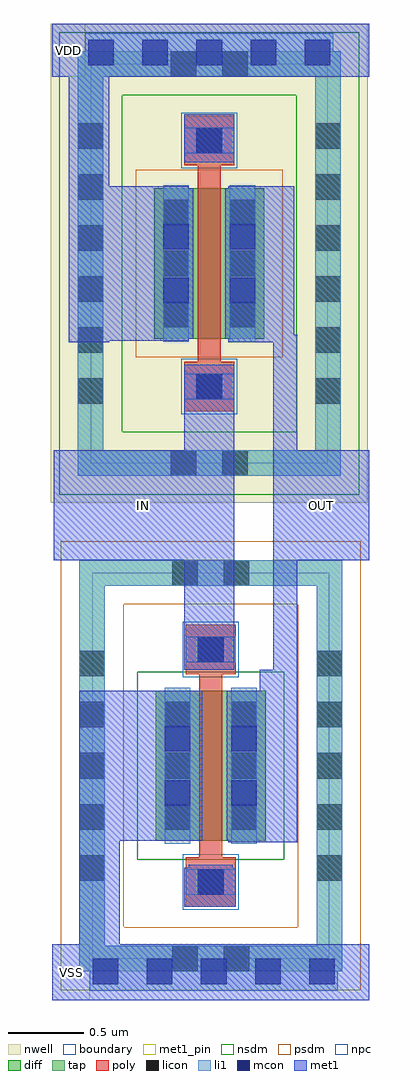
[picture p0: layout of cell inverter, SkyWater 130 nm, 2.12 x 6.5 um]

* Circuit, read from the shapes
.subckt inverter IN OUT VDD VSS
XM1 OUT IN VSS VSS sky130_fd_pr__nfet_01v8 w=1 l=0.15
XM2 OUT IN VDD VDD sky130_fd_pr__pfet_01v8 w=1 l=0.15
.ends

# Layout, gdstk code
import gdstk
lib = gdstk.Library(unit=1e-6, precision=1e-09)
def R(c, l, rs):  # rectangles x0, y0, x1, y1
    for r in rs: c.add(gdstk.rectangle(r[:2], r[2:], *l))
def A(c, l, x, y, w, h, nx, ny, dx, dy):  # array of equal rectangles
    R(c, l, [(x+i*dx, y+j*dy, x+i*dx+w, y+j*dy+h) for i in range(nx) for j in range(ny)])
nwell = (64, 20)
diff = (65, 20)
tap = (65, 44)
poly = (66, 20)
licon = (66, 44)
li1 = (67, 20)
mcon = (67, 44)
met1_pin = (68, 16)
met1 = (68, 20)
nsdm = (93, 44)
psdm = (94, 20)
npc = (95, 20)
boundary = (235, 4)

sky130_fd_pr__nfet_01v8_ = lib.new_cell('sky130_fd_pr__nfet_01v8_648S5X')
R(sky130_fd_pr__nfet_01v8_, diff, [(-0.365,-0.5,0.365,0.5)])
R(sky130_fd_pr__nfet_01v8_, tap, [(-0.875,-1.37,0.875,-1.2), (-0.875,-1.2,-0.705,1.2), (0.705,-1.2,0.875,1.2), (-0.875,1.2,0.875,1.37)])
R(sky130_fd_pr__nfet_01v8_, poly, [(-0.165,-0.94,0.165,-0.61), (-0.075,-0.61,0.075,0.61), (-0.165,0.61,0.165,0.94)])
A(sky130_fd_pr__nfet_01v8_, licon, -0.875, -0.765, 0.17, 0.17, 1, 5, 0, 0.34)
A(sky130_fd_pr__nfet_01v8_, licon, 0.705, -0.765, 0.17, 0.17, 1, 5, 0, 0.34)
A(sky130_fd_pr__nfet_01v8_, licon, -0.305, -0.425, 0.17, 0.17, 1, 3, 0, 0.34)
A(sky130_fd_pr__nfet_01v8_, licon, 0.135, -0.425, 0.17, 0.17, 1, 3, 0, 0.34)
R(sky130_fd_pr__nfet_01v8_, licon, [(-0.255,-1.37,-0.085,-1.2), (0.085,-1.37,0.255,-1.2), (-0.085,-0.86,0.085,-0.69), (-0.085,0.69,0.085,0.86), (-0.255,1.2,-0.085,1.37), (0.085,1.2,0.255,1.37)])
R(sky130_fd_pr__nfet_01v8_, li1, [(-0.875,-1.37,0.875,-1.2), (-0.875,-1.2,-0.705,1.2), (0.705,-1.2,0.875,1.2), (-0.165,-0.86,0.165,-0.69), (-0.305,-0.52,-0.135,0.52), (0.135,-0.52,0.305,0.52), (-0.165,0.69,0.165,0.86), (-0.875,1.2,0.875,1.37)])
R(sky130_fd_pr__nfet_01v8_, mcon, [(-0.085,-0.86,0.085,-0.69), (-0.305,-0.265,-0.135,-0.095), (0.135,-0.265,0.305,-0.095), (-0.305,0.095,-0.135,0.265), (0.135,0.095,0.305,0.265), (-0.085,0.69,0.085,0.86)])
R(sky130_fd_pr__nfet_01v8_, met1, [(-0.145,-0.89,0.145,-0.66), (-0.335,-0.5,-0.105,0.5), (0.105,-0.5,0.335,0.5), (-0.145,0.66,0.145,0.89)])
R(sky130_fd_pr__nfet_01v8_, nsdm, [(-0.49,-0.625,0.49,0.625)])
R(sky130_fd_pr__nfet_01v8_, psdm, [(-1,-1.495,1,-1.075), (-1,-1.075,-0.58,1.075), (0.58,-1.075,1,1.075), (-1,1.075,1,1.495)])
R(sky130_fd_pr__nfet_01v8_, npc, [(-0.185,-0.96,0.185,-0.59), (-0.185,0.59,0.185,0.96)])
R(sky130_fd_pr__nfet_01v8_, boundary, [(-0.79,-1.285,0.79,1.285)])

sky130_fd_pr__pfet_01v8_ = lib.new_cell('sky130_fd_pr__pfet_01v8_XGS3BL')
R(sky130_fd_pr__pfet_01v8_, nwell, [(-1.055,-1.595,1.055,1.595)])
R(sky130_fd_pr__pfet_01v8_, diff, [(-0.365,-0.5,0.365,0.5)])
R(sky130_fd_pr__pfet_01v8_, tap, [(-0.875,-1.415,0.875,-1.245), (-0.875,-1.245,-0.705,1.245), (0.705,-1.245,0.875,1.245), (-0.875,1.245,0.875,1.415)])
R(sky130_fd_pr__pfet_01v8_, poly, [(-0.165,-0.985,0.165,-0.655), (-0.075,-0.655,0.075,0.655), (-0.165,0.655,0.165,0.985)])
A(sky130_fd_pr__pfet_01v8_, licon, -0.875, -0.935, 0.17, 0.17, 1, 6, 0, 0.34)
A(sky130_fd_pr__pfet_01v8_, licon, 0.705, -0.935, 0.17, 0.17, 1, 6, 0, 0.34)
A(sky130_fd_pr__pfet_01v8_, licon, -0.305, -0.425, 0.17, 0.17, 1, 3, 0, 0.34)
A(sky130_fd_pr__pfet_01v8_, licon, 0.135, -0.425, 0.17, 0.17, 1, 3, 0, 0.34)
R(sky130_fd_pr__pfet_01v8_, licon, [(-0.255,-1.415,-0.085,-1.245), (0.085,-1.415,0.255,-1.245), (-0.085,-0.905,0.085,-0.735), (-0.085,0.735,0.085,0.905), (-0.255,1.245,-0.085,1.415), (0.085,1.245,0.255,1.415)])
R(sky130_fd_pr__pfet_01v8_, li1, [(-0.875,-1.415,0.875,-1.245), (-0.875,-1.245,-0.705,1.245), (0.705,-1.245,0.875,1.245), (-0.165,-0.905,0.165,-0.735), (-0.305,-0.52,-0.135,0.52), (0.135,-0.52,0.305,0.52), (-0.165,0.735,0.165,0.905), (-0.875,1.245,0.875,1.415)])
R(sky130_fd_pr__pfet_01v8_, mcon, [(-0.085,-0.905,0.085,-0.735), (-0.305,-0.265,-0.135,-0.095), (0.135,-0.265,0.305,-0.095), (-0.305,0.095,-0.135,0.265), (0.135,0.095,0.305,0.265), (-0.085,0.735,0.085,0.905)])
R(sky130_fd_pr__pfet_01v8_, met1, [(-0.145,-0.935,0.145,-0.705), (-0.335,-0.5,-0.105,0.5), (0.105,-0.5,0.335,0.5), (-0.145,0.705,0.145,0.935)])
R(sky130_fd_pr__pfet_01v8_, nsdm, [(-1,-1.54,1,-1.12), (-1,-1.12,-0.58,1.12), (0.58,-1.12,1,1.12), (-1,1.12,1,1.54)])
R(sky130_fd_pr__pfet_01v8_, psdm, [(-0.49,-0.625,0.49,0.625)])
R(sky130_fd_pr__pfet_01v8_, npc, [(-0.185,-1.005,0.185,-0.635), (-0.185,0.635,0.185,1.005)])
R(sky130_fd_pr__pfet_01v8_, boundary, [(-0.79,-1.33,0.79,1.33)])

inverter = lib.new_cell('inverter')
R(inverter, li1, [(2.72,-0.98,4.37,-0.72), (2.69,5.14,4.34,5.4)])
A(inverter, mcon, 2.74, -0.935, 0.17, 0.17, 5, 1, 0.36, 0)
A(inverter, mcon, 2.71, 5.185, 0.17, 0.17, 5, 1, 0.36, 0)
R(inverter, met1_pin, [(2.47,-1.04,2.72,-0.67), (2.48,1.89,3.68,2.62), (3.94,1.89,4.58,2.62), (2.47,5.11,2.69,5.46)])
R(inverter, met1, [(2.47,-1.04,4.58,-0.67), (2.65,-0.67,2.92,0.02), (3.35,-0.42,3.69,-0.16), (3.64,0.01,4.1,1.01), (2.65,0.02,3.47,1.02), (3.85,1.01,4.1,1.16), (3.35,1.16,3.68,1.89), (3.94,1.16,4.1,1.89), (2.48,1.89,3.68,2.62), (3.94,1.89,4.58,2.62), (3.35,2.62,3.68,3.19), (3.94,2.62,4.1,3.34), (2.58,3.34,2.85,3.35), (3.64,3.34,4.1,3.39), (2.58,3.35,3.38,4.38), (3.64,3.39,4.08,4.38), (2.58,4.38,2.85,5.11), (3.35,4.54,3.68,4.86), (2.47,5.11,4.58,5.46)])
inverter.add(gdstk.Reference(sky130_fd_pr__nfet_01v8_, (3.525,0.52)))
inverter.add(gdstk.Reference(sky130_fd_pr__pfet_01v8_, (3.515,3.865)))
inverter.add(gdstk.Label('VDD', (2.58,5.285), layer=68, texttype=5))
inverter.add(gdstk.Label('VSS', (2.595,-0.855), layer=68, texttype=5))
inverter.add(gdstk.Label('IN', (3.08,2.255), layer=68, texttype=5))
inverter.add(gdstk.Label('OUT', (4.26,2.255), layer=68, texttype=5))

lib.write_gds('inverter.gds')
